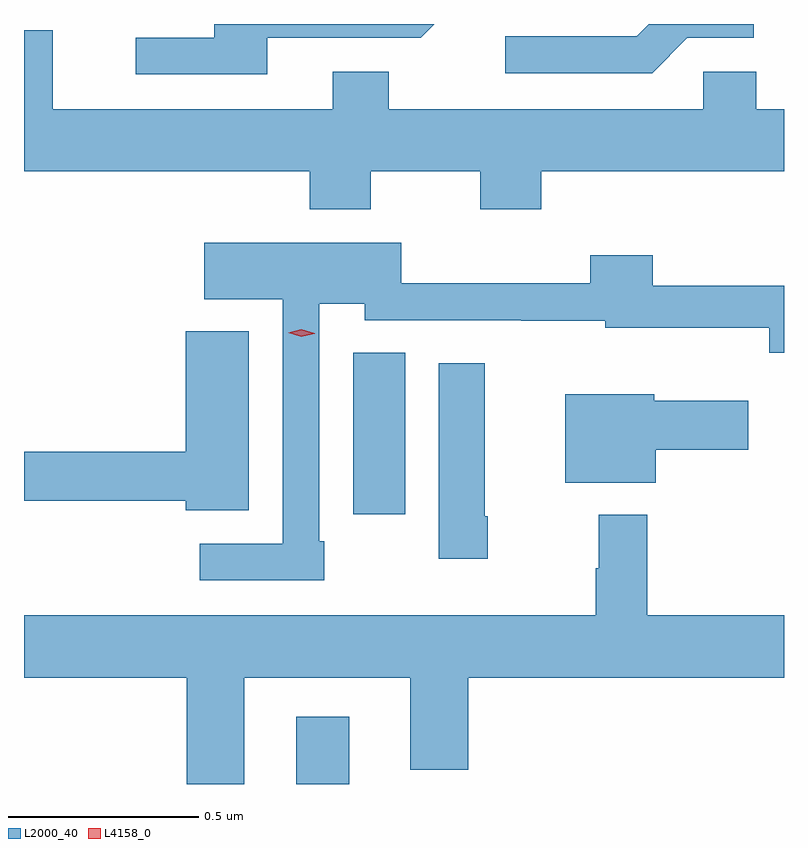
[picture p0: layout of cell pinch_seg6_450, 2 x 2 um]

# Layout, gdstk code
import gdstk
lib = gdstk.Library(unit=1e-6, precision=1e-09)
def R(c, l, rs):  # rectangles x0, y0, x1, y1
    for r in rs: c.add(gdstk.rectangle(r[:2], r[2:], *l))
def P(c, l, *ps):  # polygons
    for p in ps: c.add(gdstk.Polygon(p, *l))
L2000_40 = (2000, 40)
L4158_0 = (4158, 0)

pinch_seg6_450 = lib.new_cell('pinch_seg6_450')
R(pinch_seg6_450, L2000_40, [(701.561,921.748,701.701,921.925), (701.711,922.458,701.848,922.883)])
P(pinch_seg6_450, L2000_40, [(701.485,923.712),(701.889,923.712),(701.925,923.748),(701.345,923.748),(701.345,923.712),(701.139,923.712),(701.139,923.616),(701.485,923.616)],
  [(702.591,923.712),(702.765,923.712),(702.765,923.748),(702.489,923.748),(702.457,923.716),(702.111,923.716),(702.111,923.619),(702.498,923.619)],
  [(701.757,923.36),(702.046,923.36),(702.046,923.261),(702.206,923.261),(702.206,923.36),(702.845,923.36),(702.845,923.524),(702.772,923.524),(702.772,923.622),(702.633,923.622),(702.633,923.524),(701.805,923.524),(701.805,923.623),(701.657,923.623),(701.657,923.524),(700.921,923.524),(700.921,923.732),(700.845,923.732),(700.845,923.36),(701.597,923.36),(701.597,923.261),(701.757,923.261)],
  [(701.635,922.387),(701.622,922.387),(701.622,923.012),(701.742,923.012),(701.742,922.968),(702.154,922.968),(702.154,922.967),(702.375,922.967),(702.375,922.949),(702.806,922.949),(702.806,922.883),(702.845,922.883),(702.845,923.059),(702.5,923.059),(702.5,923.14),(702.335,923.14),(702.335,923.066),(701.838,923.066),(701.838,923.173),(701.319,923.173),(701.319,923.024),(701.526,923.024),(701.526,922.38),(701.307,922.38),(701.307,922.284),(701.635,922.284)],
  [(701.437,922.939),(701.27,922.939),(701.27,922.622),(700.845,922.622),(700.845,922.494),(701.27,922.494),(701.27,922.469),(701.437,922.469)],
  [(702.066,922.453),(702.058,922.453),(702.058,922.855),(701.936,922.855),(701.936,922.341),(702.066,922.341)],
  [(702.508,922.627),(702.751,922.627),(702.751,922.756),(702.504,922.756),(702.504,922.774),(702.269,922.774),(702.269,922.541),(702.508,922.541)],
  [(701.425,922.028),(701.861,922.028),(701.861,921.785),(702.014,921.785),(702.014,922.028),(702.845,922.028),(702.845,922.192),(702.485,922.192),(702.485,922.456),(702.357,922.456),(702.357,922.316),(702.349,922.316),(702.349,922.192),(700.845,922.192),(700.845,922.028),(701.273,922.028),(701.273,921.748),(701.425,921.748)])
P(pinch_seg6_450, L4158_0, [(701.575,922.925),(701.54,922.936),(701.54,922.936),(701.54,922.936),(701.575,922.945),(701.61,922.934),(701.61,922.934),(701.61,922.933)])

lib.write_gds('pinch_seg6_450.gds')
